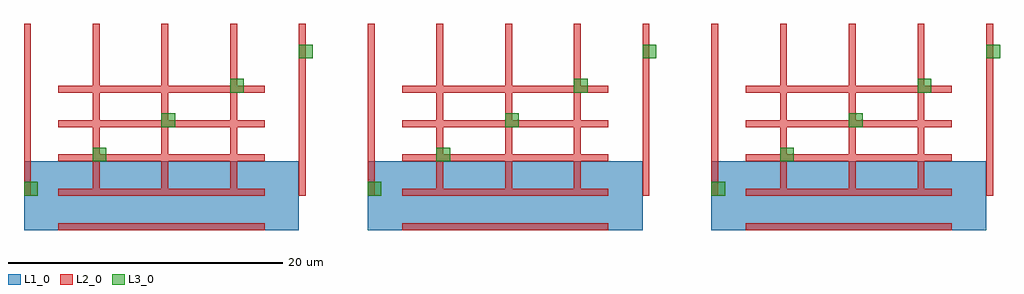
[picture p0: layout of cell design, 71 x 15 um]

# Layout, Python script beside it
import gdspy

# Define the library and cell for the GDS layout
lib = gdspy.GdsLibrary()
cell = lib.new_cell('design')

# Define the layer numbers and datatype for active regions, polysilicon gate, and contact holes
active_layer = (1, 0)
polysilicon_gate_layer = (2, 0)
contact_hole_layer = (3, 0)

# Draw three rectangular active regions with dimensions 20 µm x 5 µm
for i in range(3):
    active_region = gdspy.Rectangle((i * 25, 0), ((i * 25) + 20, 5), layer=active_layer[0], datatype=active_layer[1])
    cell.add(active_region)

# Create a complex polysilicon gate pattern consisting of multiple vertical and horizontal lines
for i in range(5):
    for j in range(3):
        # Draw horizontal lines
        polysilicon_gate_h = gdspy.Rectangle((j * 25 + 2.5, i * 2.5), ((j * 25) + 17.5, (i * 2.5) + 0.5), layer=polysilicon_gate_layer[0], datatype=polysilicon_gate_layer[1])
        cell.add(polysilicon_gate_h)
        
        # Draw vertical lines
        polysilicon_gate_v = gdspy.Rectangle((j * 25 + (i * 5), 2.5), ((j * 25) + (i * 5) + 0.5, 2.5 + 12.5), layer=polysilicon_gate_layer[0], datatype=polysilicon_gate_layer[1])
        cell.add(polysilicon_gate_v)

# Add several contact holes (each 1 µm x 1 µm) positioned at the intersections of the polysilicon gate pattern and the active regions
for i in range(5):
    for j in range(3):
        contact_hole = gdspy.Rectangle((j * 25 + (i * 5), 2.5 + (i * 2.5)), ((j * 25) + (i * 5) + 1, 2.5 + (i * 2.5) + 1), layer=contact_hole_layer[0], datatype=contact_hole_layer[1])
        cell.add(contact_hole)

# Save the design to a GDS file
lib.write_gds('design.gds')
